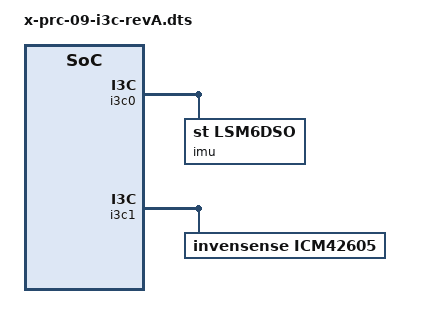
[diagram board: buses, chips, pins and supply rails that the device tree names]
// SPDX-License-Identifier: GPL-2.0
/*
 * dts file for Xilinx ZynqMP VN-P-B2197 (Tenzing2) X-PRC-09 RevA with I3C enabled
 *
 * (C) Copyright 2022, Advanced Micro Devices, Inc.
 *
 * Jay Buddhabhatti <jay.buddhabhatti@amd.com>;
 */

#include "x-prc-09-revA.dts"

&{/} {
	model = "X-PRC-09 i3c revA";
};

&i2c0 {
	status = "disabled";
};

&i2c1 {
	status = "disabled";
};

&i3c0 {
	status = "okay";
	#address-cells = <3>;
	#size-cells = <0>;

	/* check maximum frequency from datasheet */
	imu@6b { /* u120 */
		compatible = "st,lsm6dso";
		reg = <0 0 0x6b>;
	};
};

&i3c1 { /* u119 */
	status = "okay";
	#address-cells = <3>;
	#size-cells = <0>;

	/* icm-42605 - missing i3c driver
	drivers/iio/imu/inv_icm42600/inv_icm42600_i2c.c */
	icm42605@68 {
		compatible = "invensense,icm42605";
		reg = <0 0 0x68>;
	};
};
